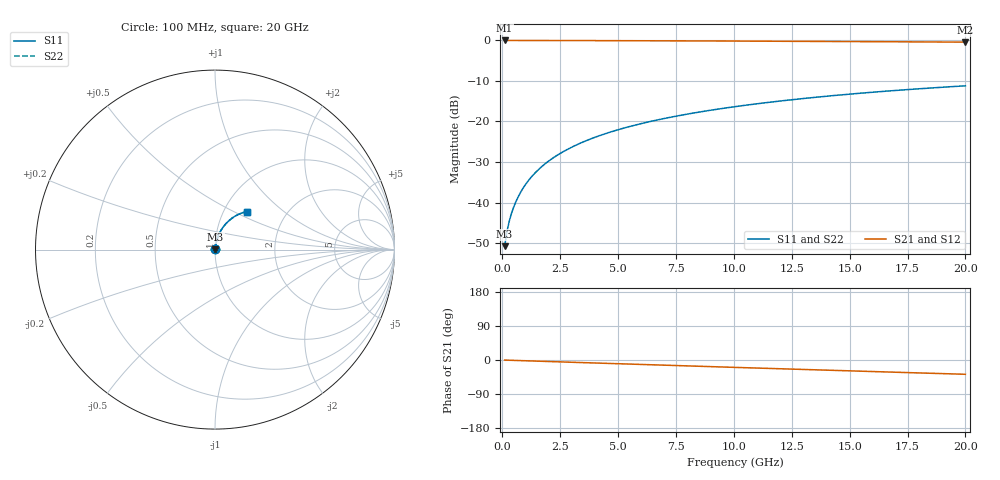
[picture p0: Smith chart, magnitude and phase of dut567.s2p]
! Touchstone file exported from HFSS 2026.1.0
!  File:  C:/ffzhzh/LocalFiles/Ansys_Project_Files/temp_train_TMRDL_567_1783007972_46388.aedt
!  Generated:  12:00:59 AM Jul  3, 2026
!  Design:  TMRDL
!  Project:  temp_train_TMRDL_567_1783007972_46388
! Variables:
!  h_bsmrdl = 2um
!  h_ox = 20um
!  h_rdl = 5um
!  h_sub = 80um
!  h_tmrdl = 3.83um
!  h_tsv = 80um
!  h_via = 3um
!  l_bsmrdl = 300um
!  l_sub = 981.51um
!  l_tmrdl = 581.51um
!  m_sub = 200um
!  pitch = 46.94um
!  r_tsv = 6um
!  s_tmrdl = 10um
!  w_bsmrdl = 18um
!  w_sub = 500um
!  w_tmrdl = 27.47um
!  x_tsv_center1 = 595.245um
!  x_tsv_center2 = 913.245um
!  x_tsv_center3 = 1522.225um
!  x_tsv_center4 = 1840.225um
!  x_tsv_center5 = 2449.205um
!  x_tsv_center6 = 2767.205um
# GHz S MA R 50.000000
! Terminal data exported
! Port[1] = TM_RDL1_1_T1
! Port[2] = TM_RDL1_1_T2
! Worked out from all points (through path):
!   200 points, 100 MHz to 20 GHz, reference 50 ohm
!   highest |S21| = -0.02 dB at 100 MHz (marker M1); lowest = -0.4 dB at 20 GHz (marker M2)
!   group delay of S21, straight-line fit = 5.23 ps
!   lowest |S11| = -50.7 dB at 100 MHz (marker M3), VSWR 1.01, Z = 50.2 + j0.188 ohm
!   |S11| at or under -10 dB: start of sweep to end of sweep
!   |S22| runs from -50.7 to -11.2 dB; largest |S21 - S12| = 3.1e-15
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0.1  0.002903 40.1  0.9978 -0.2  0.9978 -0.2  0.002903 40.1
! Gamma 0 0 0 0
! Port Impedance 50 0 50 0
0.2  0.004359 56.3  0.9976 -0.4  0.9976 -0.4  0.004359 56.3
0.3  0.005888 63.5  0.9974 -0.6  0.9974 -0.6  0.005888 63.5
0.4  0.007409 67.8  0.9973 -0.8  0.9973 -0.8  0.007409 67.8
0.5  0.008931 70.7  0.9972 -1.0  0.9972 -1.0  0.008931 70.7
0.6  0.01046 72.9  0.9971 -1.2  0.9971 -1.2  0.01046 72.9
0.8  0.01355 75.7  0.997 -1.6  0.997 -1.6  0.01355 75.7
1.1  0.01825 78.1  0.9968 -2.2  0.9968 -2.2  0.01825 78.1
1.3  0.0214 78.9  0.9967 -2.6  0.9967 -2.6  0.0214 78.9
1.6  0.02615 79.7  0.9965 -3.2  0.9965 -3.2  0.02615 79.7
2.1  0.03407 80.0  0.996 -4.2  0.996 -4.2  0.03407 80.0
2.7  0.04354 79.8  0.9954 -5.4  0.9954 -5.4  0.04354 79.8
3.5  0.05607 78.9  0.9943 -6.9  0.9943 -6.9  0.05607 78.9
4.2  0.06691 77.9  0.9933 -8.3  0.9933 -8.3  0.06691 77.9
5  0.07915 76.6  0.9919 -9.9  0.9919 -9.9  0.07915 76.6
5.9  0.0927 75.0  0.9902 -11.6  0.9902 -11.6  0.0927 75.0
6.8  0.106 73.5  0.9884 -13.3  0.9884 -13.3  0.106 73.5
8.3  0.1278 70.8  0.9851 -16.2  0.9851 -16.2  0.1278 70.8
10.1  0.1531 67.6  0.9807 -19.6  0.9807 -19.6  0.1531 67.6
13.4  0.1972 61.8  0.9718 -25.7  0.9718 -25.7  0.1972 61.8
16.7  0.238 56.0  0.9618 -31.8  0.9618 -31.8  0.238 56.0
20  0.2753 50.3  0.9513 -37.7  0.9513 -37.7  0.2753 50.3
